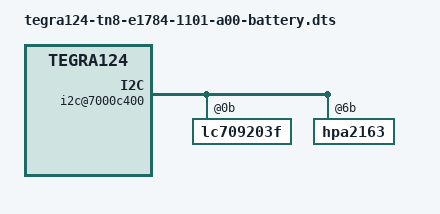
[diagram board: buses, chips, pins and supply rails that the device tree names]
#include "tegra124-tn8-e1784-1101-a00.dts"
#include "tegra124-platforms/tegra124-tn8-usb-devices.dtsi"

/ {
	nvidia,dtsfilename = __FILE__;

	i2c@7000c400 {
		lc709203f@0b {
			status = "okay";
		};

		hpa2163@6b {
			charger {
				status = "okay";
			};
		};
	};
};

